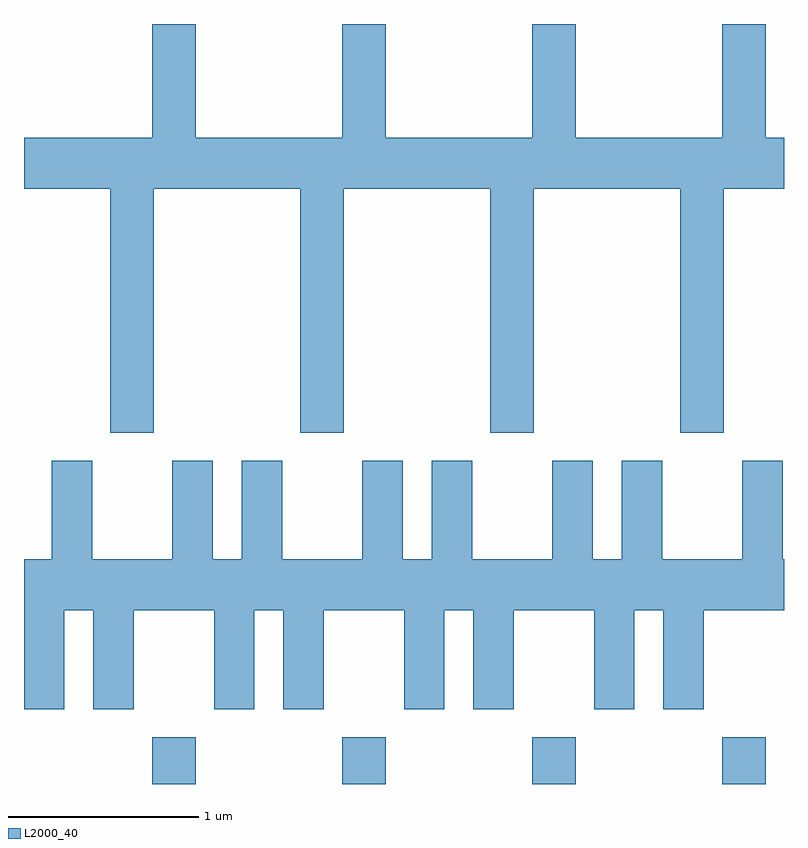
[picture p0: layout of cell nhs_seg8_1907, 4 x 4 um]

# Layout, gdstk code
import gdstk
lib = gdstk.Library(unit=1e-6, precision=1e-09)
def R(c, l, rs):  # rectangles x0, y0, x1, y1
    for r in rs: c.add(gdstk.rectangle(r[:2], r[2:], *l))
def A(c, l, x, y, w, h, nx, ny, dx, dy):  # array of equal rectangles
    R(c, l, [(x+i*dx, y+j*dy, x+i*dx+w, y+j*dy+h) for i in range(nx) for j in range(ny)])
def P(c, l, *ps):  # polygons
    for p in ps: c.add(gdstk.Polygon(p, *l))
L2000_40 = (2000, 40)

nhs_seg8_1907 = lib.new_cell('nhs_seg8_1907')
A(nhs_seg8_1907, L2000_40, 242.286, 1884.342, 0.228, 0.247, 4, 1, 1, 0)
P(nhs_seg8_1907, L2000_40, [(242.294,1887.476),(243.066,1887.476),(243.066,1886.191),(243.294,1886.191),(243.294,1887.476),(244.066,1887.476),(244.066,1886.191),(244.294,1886.191),(244.294,1887.476),(245.066,1887.476),(245.066,1886.191),(245.294,1886.191),(245.294,1887.476),(245.611,1887.476),(245.611,1887.744),(245.514,1887.744),(245.514,1888.342),(245.286,1888.342),(245.286,1887.744),(244.514,1887.744),(244.514,1888.342),(244.286,1888.342),(244.286,1887.744),(243.514,1887.744),(243.514,1888.342),(243.286,1888.342),(243.286,1887.744),(242.514,1887.744),(242.514,1888.342),(242.286,1888.342),(242.286,1887.744),(241.611,1887.744),(241.611,1887.476),(242.066,1887.476),(242.066,1886.191),(242.294,1886.191)],
  [(241.824,1885.256),(241.976,1885.256),(241.976,1884.736),(242.189,1884.736),(242.189,1885.256),(242.611,1885.256),(242.611,1884.736),(242.824,1884.736),(242.824,1885.256),(242.976,1885.256),(242.976,1884.736),(243.189,1884.736),(243.189,1885.256),(243.611,1885.256),(243.611,1884.736),(243.824,1884.736),(243.824,1885.256),(243.976,1885.256),(243.976,1884.736),(244.189,1884.736),(244.189,1885.256),(244.611,1885.256),(244.611,1884.736),(244.824,1884.736),(244.824,1885.256),(244.976,1885.256),(244.976,1884.736),(245.189,1884.736),(245.189,1885.256),(245.611,1885.256),(245.611,1885.524),(245.604,1885.524),(245.604,1886.044),(245.391,1886.044),(245.391,1885.524),(244.969,1885.524),(244.969,1886.044),(244.756,1886.044),(244.756,1885.524),(244.604,1885.524),(244.604,1886.044),(244.391,1886.044),(244.391,1885.524),(243.969,1885.524),(243.969,1886.044),(243.756,1886.044),(243.756,1885.524),(243.604,1885.524),(243.604,1886.044),(243.391,1886.044),(243.391,1885.524),(242.969,1885.524),(242.969,1886.044),(242.756,1886.044),(242.756,1885.524),(242.604,1885.524),(242.604,1886.044),(242.391,1886.044),(242.391,1885.524),(241.969,1885.524),(241.969,1886.044),(241.756,1886.044),(241.756,1885.524),(241.611,1885.524),(241.611,1884.736),(241.824,1884.736)])

lib.write_gds('nhs_seg8_1907.gds')
